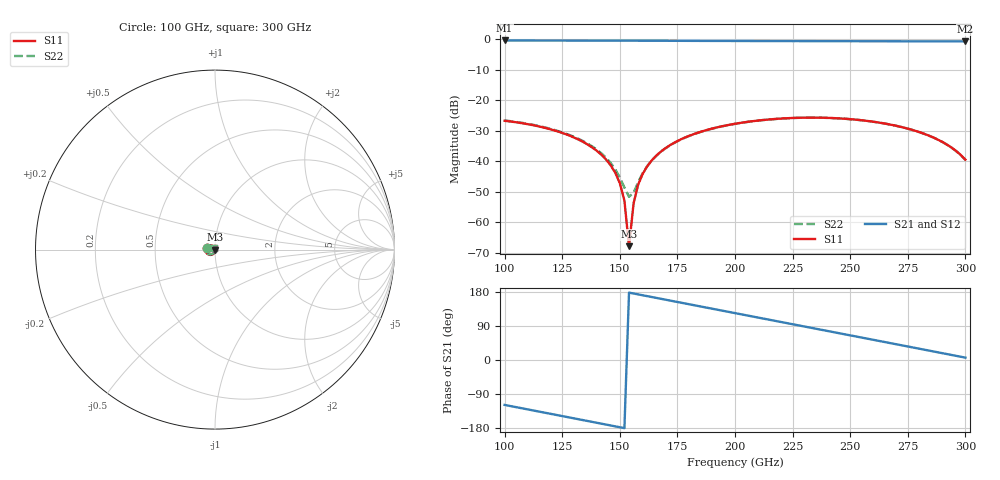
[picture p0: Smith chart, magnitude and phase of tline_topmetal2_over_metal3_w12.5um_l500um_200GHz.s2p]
#  GHZ S DB R 50
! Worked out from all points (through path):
!   101 points, 100 GHz to 300 GHz, reference 50 ohm
!   highest |S21| = -0.34 dB at 100 GHz (marker M1); lowest = -0.7 dB at 300 GHz (marker M2)
!   group delay of S21, straight-line fit = 3.27 ps
!   lowest |S11| = -67.8 dB at 154 GHz (marker M3), VSWR 1.00, Z = 50 + j0.0174 ohm
!   |S11| at or under -10 dB: start of sweep to end of sweep
!   |S22| runs from -51.6 to -25.7 dB; largest |S21 - S12| = 1.1e-14
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100  -26.68 169.1  -0.34 -118.5  -0.34 -118.5  -26.57 171.7
120  -29.49 142.8  -0.37 -142.1  -0.37 -142.1  -29.33 147.3
134  -33.57 124.4  -0.39 -158.6  -0.39 -158.6  -33.31 132.1
144  -39.35 110.6  -0.40 -170.4  -0.40 -170.4  -38.77 125.6
148  -43.68 104.2  -0.41 -175.1  -0.41 -175.1  -42.57 128.0
150  -47.10 100.0  -0.41 -177.4  -0.41 -177.4  -45.23 133.3
152  -52.81 92.7  -0.42 -179.8  -0.42 -179.8  -48.58 146.7
154  -67.78 25.3  -0.42 177.8  -0.42 177.8  -51.57 178.8
156  -53.65 -71.6  -0.42 175.5  -0.42 175.5  -50.27 -140.0
158  -47.53 -79.6  -0.43 173.1  -0.43 173.1  -46.76 -119.2
162  -41.47 -87.4  -0.44 168.4  -0.44 168.4  -41.45 -107.6
168  -36.68 -96.0  -0.45 161.3  -0.45 161.3  -36.74 -107.4
174  -33.72 -103.8  -0.46 154.3  -0.46 154.3  -33.78 -111.7
182  -31.07 -113.8  -0.48 144.9  -0.48 144.9  -31.12 -119.3
200  -27.66 -135.1  -0.51 123.7  -0.51 123.7  -27.69 -138.2
218  -26.05 -155.7  -0.54 102.6  -0.54 102.6  -26.07 -157.7
234  -25.64 -174.0  -0.57 83.8  -0.57 83.8  -25.66 -175.5
250  -26.14 167.6  -0.59 65.0  -0.59 65.0  -26.15 166.6
268  -28.01 147.4  -0.61 43.9  -0.61 43.9  -28.02 146.7
288  -32.83 127.1  -0.64 20.4  -0.64 20.4  -32.84 126.4
294  -35.47 122.8  -0.64 13.3  -0.64 13.3  -35.49 121.9
300  -39.43 121.8  -0.65 6.2  -0.65 6.2  -39.50 120.4
